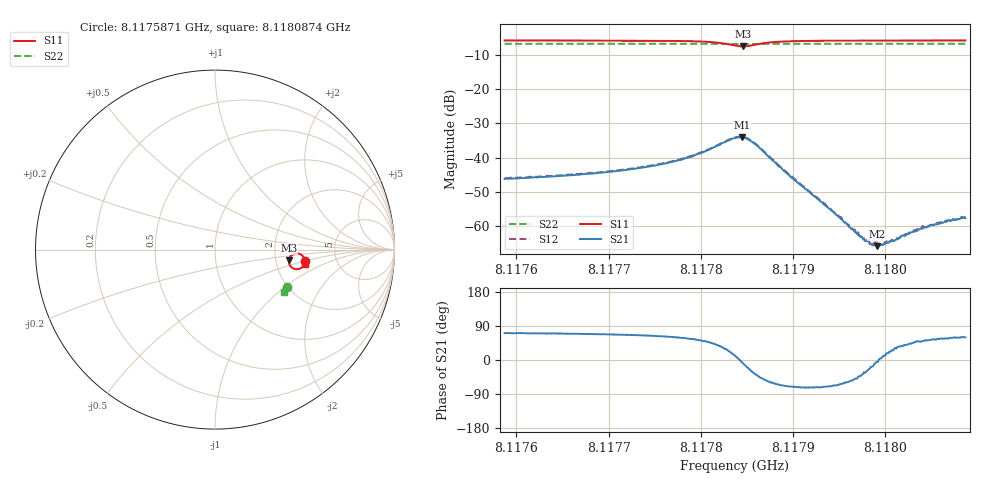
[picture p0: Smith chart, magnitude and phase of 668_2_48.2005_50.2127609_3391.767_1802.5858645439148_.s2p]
#  HZ  S  RI  R  50.00
! Rohde & Schwarz Vector Network Analyzer
! Rohde-Schwarz,ZNB20-2Port,1311601062101988,3.16
! Created: UTC 3/20/2024, 12:06:01 PM
! freq[Hz]  re:S11  im:S11  re:S21  im:S21  re:S12  im:S12  re:S22  im:S22
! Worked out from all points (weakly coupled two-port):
!   401 points, 8.1175871 GHz to 8.1180874 GHz, reference 50 ohm
!   highest |S21| = -34.08 dB at 8.1178448 GHz (marker M1); lowest = -65.7 dB at 8.1179911 GHz (marker M2)
!   lowest |S11| = -7.6 dB at 8.117846 GHz (marker M3), VSWR 2.42, Z = 118 - j16.9 ohm
!   |S11| at or under -10 dB: nowhere
!   |S22| runs from -6.9 to -6.9 dB; largest |S21 - S12| = 0.00065
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8.1175871e9  0.5029 -0.0621  0.00159 0.00463  0.00163 0.00477  0.4027 -0.2071
8.11767091e9  0.5006 -0.0723  0.00206 0.00536  0.00215 0.00543  0.4001 -0.2125
8.11771844e9  0.498 -0.0796  0.00266 0.00607  0.00269 0.00622  0.3986 -0.2155
8.11775472e9  0.4941 -0.0874  0.00359 0.00704  0.00368 0.00723  0.3972 -0.218
8.11778974e9  0.4843 -0.0989  0.00583 0.00849  0.0061 0.0087  0.3956 -0.2204
8.11782226e9  0.4509 -0.109  0.013 0.00907  0.0133 0.00924  0.3931 -0.2223
8.11783727e9  0.4186 -0.0894  0.0189 0.00384  0.0193 0.00397  0.3915 -0.2221
8.11784478e9  0.4114 -0.0639  0.0197 -0.00194  0.02 -0.002  0.3913 -0.2214
8.11784603e9  0.4117 -0.0591  0.0194 -0.00298  0.0198 -0.00294  0.3914 -0.2212
8.11785854e9  0.4373 -0.025  0.0129 -0.00938  0.0133 -0.00954  0.3925 -0.2207
8.1178823e9  0.4821 -0.0299  0.0036 -0.00728  0.00382 -0.0075  0.3936 -0.223
8.11792108e9  0.498 -0.0516  0.000881 -0.00277  0.000922 -0.00285  0.3927 -0.2264
8.1179511e9  0.5002 -0.061  0.000596 -0.00121  0.000593 -0.00123  0.3917 -0.2286
8.11797862e9  0.5007 -0.067  0.000524 -0.000348  0.000505 -0.000342  0.3909 -0.2303
8.11798613e9  0.5008 -0.0683  0.000513 -0.00016  0.000573 -0.000121  0.3906 -0.231
8.11799113e9  0.5008 -0.0693  0.000515 -4.22e-05  0.000578 -8.81e-05  0.3904 -0.2312
8.11799613e9  0.5007 -0.0701  0.000537 4.15e-05  0.000531 3.57e-05  0.3904 -0.2316
8.11800489e9  0.5008 -0.0715  0.000556 0.000225  0.000585 0.000158  0.3899 -0.2323
8.1180124e9  0.5007 -0.0726  0.000557 0.000324  0.00057 0.000357  0.3897 -0.2326
8.11803866e9  0.5006 -0.0764  0.000627 0.000695  0.000605 0.000742  0.3888 -0.2344
8.11804992e9  0.5005 -0.0778  0.000612 0.000838  0.000621 0.000854  0.3884 -0.2352
8.11808745e9  0.5 -0.0821  0.000665 0.00114  0.000695 0.00121  0.3872 -0.2374
